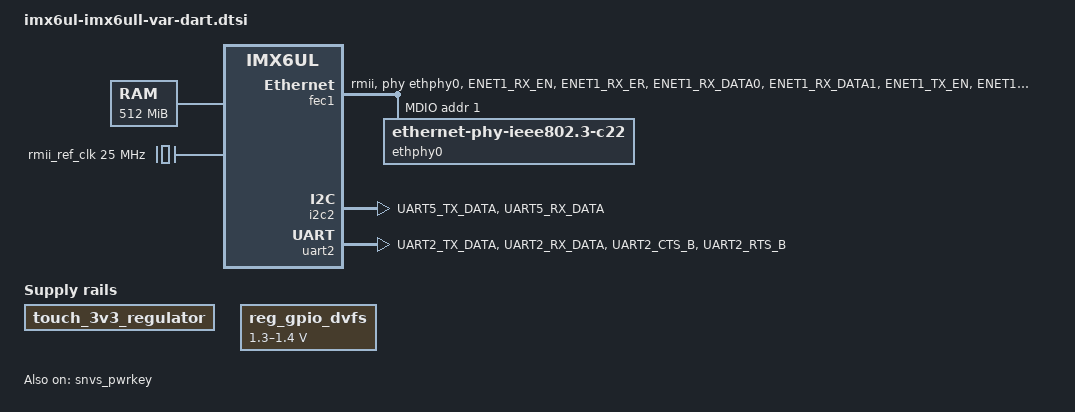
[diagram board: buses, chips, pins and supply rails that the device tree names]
/*
 * Copyright (C) 2015-2024 Variscite Ltd. - https://www.variscite.com
 *
 * This program is free software; you can redistribute it and/or modify
 * it under the terms of the GNU General Public License version 2 as
 * published by the Free Software Foundation.
 */

/ {
	memory {
		reg = <0x80000000 0x20000000>;
	};

	pxp_v4l2 {
		compatible = "fsl,imx6ul-pxp-v4l2", "fsl,imx6sx-pxp-v4l2", "fsl,imx6sl-pxp-v4l2";
		status = "disabled";
	};

	regulators {
		compatible = "simple-bus";
		#address-cells = <1>;
		#size-cells = <0>;

		touch_3v3_regulator: touch_3v3_regulator {
			compatible = "regulator-fixed";
			regulator-name = "touch_3v3_supply";
			regulator-always-on;
			status = "okay";
		};

		reg_gpio_dvfs: regulator-gpio {
			compatible = "regulator-gpio";
			regulator-min-microvolt = <1300000>;
			regulator-max-microvolt = <1400000>;
			regulator-name = "gpio_dvfs";
			regulator-type = "voltage";
			gpios = <&gpio4 13 GPIO_ACTIVE_HIGH>;
			states = <1300000 0x1 1400000 0x0>;
		};
	};

};

&clks {
	/* ref_clk for micrel ethernet phy */
	rmii_ref_clk: rmii_ref_clk_grp {
		compatible = "fixed-clock";
		#clock-cells = <0>;
		clock-frequency = <25000000>;
		clock-output-names = "rmii-ref";
	};
};

&clks {
	assigned-clocks = <&clks IMX6UL_CLK_PLL4_AUDIO_DIV>;
	assigned-clock-rates = <786432000>;
};

&cpu0 {
	arm-supply = <&reg_arm>;
	soc-supply = <&reg_soc>;
	dc-supply = <&reg_gpio_dvfs>;
};

&fec1 {
	pinctrl-names = "default";
	pinctrl-0 = <&pinctrl_enet1>, <&pinctrl_enet1_gpio>, <&pinctrl_enet1_mdio>;
	phy-mode = "rmii";
	phy-reset-gpios=<&gpio5 0 GPIO_ACTIVE_LOW>;
	phy-reset-duration=<100>;
	phy-handle = <&ethphy0>;
	status = "okay";

	mdio {
		#address-cells = <1>;
		#size-cells = <0>;

		ethphy0: ethernet-phy@1 {
			compatible = "ethernet-phy-ieee802.3-c22";
			micrel,rmii-reference-clock-select-25-mhz;
			micrel,led-mode = <1>;
			clocks = <&rmii_ref_clk>;
			clock-names = "rmii-ref";
			reg = <1>;
		};
	};
};

&gpc {
	fsl,cpu_pupscr_sw2iso = <0x2>;
	fsl,cpu_pupscr_sw = <0x1>;
	fsl,cpu_pdnscr_iso2sw = <0x1>;
	fsl,cpu_pdnscr_iso = <0x1>;
	fsl,ldo-bypass = <0>; /* DCDC, ldo-enable */
};

&i2c2 {
	clock_frequency = <100000>;
	pinctrl-names = "default";
	pinctrl-0 = <&pinctrl_i2c2>;
	status = "okay";

};

&iomuxc {
	pinctrl_hog_3: hoggrp-3 {
		fsl,pins = <
			/* pinctrl_sai2: sai2grp */
			MX6UL_PAD_JTAG_TDI__SAI2_TX_BCLK	0x17088
			MX6UL_PAD_JTAG_TDO__SAI2_TX_SYNC	0x17088
			MX6UL_PAD_JTAG_TRST_B__SAI2_TX_DATA	0x11088
			MX6UL_PAD_JTAG_TCK__SAI2_RX_DATA	0x11088
			MX6UL_PAD_JTAG_TMS__SAI2_MCLK		0x17088
		>;
	};

	pinctrl_enet1: enet1grp {
		fsl,pins = <
			MX6UL_PAD_ENET1_RX_EN__ENET1_RX_EN	0x1b0b0
			MX6UL_PAD_ENET1_RX_ER__ENET1_RX_ER	0x1b0b0
			MX6UL_PAD_ENET1_RX_DATA0__ENET1_RDATA00	0x1b0b0
			MX6UL_PAD_ENET1_RX_DATA1__ENET1_RDATA01	0x1b0b0
			MX6UL_PAD_ENET1_TX_EN__ENET1_TX_EN	0x1b0b0
			MX6UL_PAD_ENET1_TX_DATA0__ENET1_TDATA00	0x1b0b0
			MX6UL_PAD_ENET1_TX_DATA1__ENET1_TDATA01	0x1b0b0
			MX6UL_PAD_ENET1_TX_CLK__ENET1_REF_CLK1	0x4001b031
		>;
	};

	pinctrl_enet1_mdio: enet1_mdiogrp {
		fsl,pins = <
			MX6UL_PAD_GPIO1_IO06__ENET1_MDIO	0x1b0b0
			MX6UL_PAD_GPIO1_IO07__ENET1_MDC		0x1b0b0
		>;
	};

	pinctrl_i2c2: i2c2grp {
		fsl,pins = <
			MX6UL_PAD_UART5_TX_DATA__I2C2_SCL	0x4001b8b0
			MX6UL_PAD_UART5_RX_DATA__I2C2_SDA	0x4001b8b0
		>;
	};

	pinctrl_uart2: uart2grp {
		fsl,pins = <
			MX6UL_PAD_UART2_TX_DATA__UART2_DCE_TX	0x1b0b1
			MX6UL_PAD_UART2_RX_DATA__UART2_DCE_RX	0x1b0b1
			MX6UL_PAD_UART2_CTS_B__UART2_DCE_CTS	0x1b0b1
			MX6UL_PAD_UART2_RTS_B__UART2_DCE_RTS	0x1b0b1
		>;
	};
};

&pxp {
	status = "disabled";
};

&snvs_poweroff {
	status = "okay";
};

&snvs_pwrkey {
	status = "okay";
};

/* Bluetooth UART */
&uart2 {
	pinctrl-names = "default";
	pinctrl-0 = <&pinctrl_uart2>;
	uart-has-rtscts;
	status = "okay";
};
